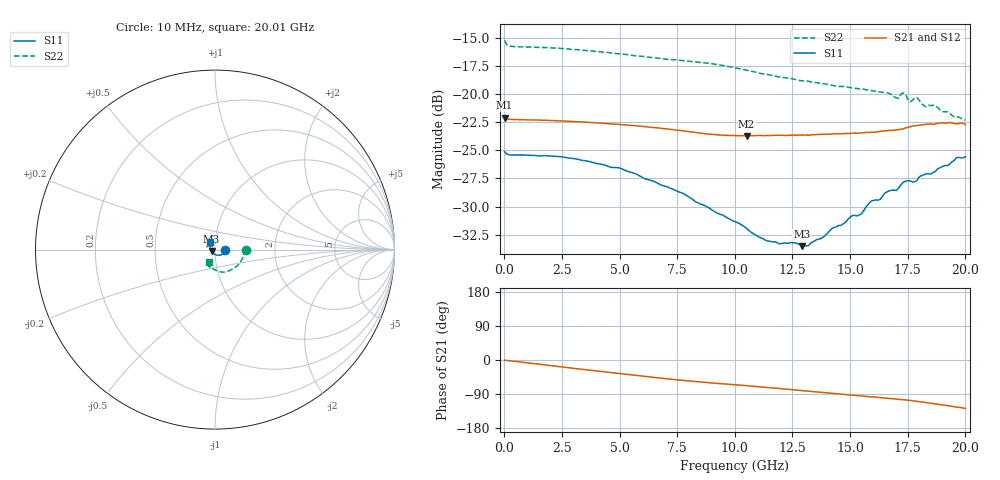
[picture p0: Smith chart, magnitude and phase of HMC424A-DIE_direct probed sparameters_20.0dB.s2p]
!s2p File: Measurements: S11, S21, S12, S22
# GHz S dB R 50.0
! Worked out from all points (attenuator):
!   201 points, 10 MHz to 20.01 GHz, reference 50 ohm
!   highest |S21| = -22.09 dB at 10 MHz (marker M1); lowest = -23.7 dB at 10.51 GHz (marker M2)
!   lowest |S11| = -33.5 dB at 12.91 GHz (marker M3), VSWR 1.04, Z = 48.1 - j0.921 ohm
!   |S11| at or under -10 dB: start of sweep to end of sweep
!   |S22| runs from -22.3 to -15.2 dB; largest |S21 - S12| = 0.0009
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0.01  -25.12 -0.1  -22.09 -0.5  -22.09 -0.3  -15.23 -1.2
0.31  -25.41 -2.4  -22.25 -2.6  -22.25 -2.6  -15.76 -3.3
3.41  -25.90 -23.9  -22.48 -24.8  -22.48 -24.8  -16.10 -27.5
5.01  -26.58 -37.1  -22.70 -36.0  -22.70 -36.0  -16.42 -39.4
6.71  -27.99 -51.5  -23.02 -47.4  -23.02 -47.3  -16.81 -51.1
10.01  -31.34 -91.2  -23.69 -65.3  -23.68 -65.3  -17.65 -73.2
10.51  -31.95 -99.6  -23.71 -67.7  -23.69 -67.7  -17.87 -76.1
11.41  -33.05 -118.4  -23.68 -72.5  -23.67 -72.5  -18.25 -80.9
12.91  -33.52 -153.1  -23.64 -80.6  -23.63 -80.5  -18.81 -87.9
13.41  -33.12 -164.7  -23.61 -83.1  -23.62 -83.1  -18.95 -90.2
15.11  -30.79 163.4  -23.47 -92.7  -23.47 -92.7  -19.46 -98.0
15.51  -30.63 157.4  -23.45 -94.9  -23.43 -94.8  -19.55 -99.5
15.91  -29.52 151.1  -23.40 -97.1  -23.40 -97.1  -19.68 -101.6
16.31  -29.36 145.8  -23.31 -99.3  -23.29 -99.1  -19.82 -103.7
16.71  -28.59 140.9  -23.23 -101.5  -23.20 -101.6  -19.94 -106.4
17.11  -28.36 139.5  -23.16 -103.8  -23.09 -103.9  -20.37 -105.8
17.31  -27.84 137.6  -23.10 -104.8  -23.08 -105.2  -19.89 -108.0
17.61  -27.72 133.0  -22.90 -106.5  -22.95 -107.1  -20.69 -110.2
17.91  -27.67 132.1  -22.79 -109.4  -22.84 -109.3  -20.32 -111.8
18.31  -27.08 127.2  -22.68 -112.6  -22.72 -112.5  -21.13 -112.4
18.61  -26.95 127.0  -22.69 -115.1  -22.68 -114.9  -20.99 -113.6
20.01  -25.56 125.3  -22.70 -127.7  -22.69 -127.7  -22.32 -115.9
